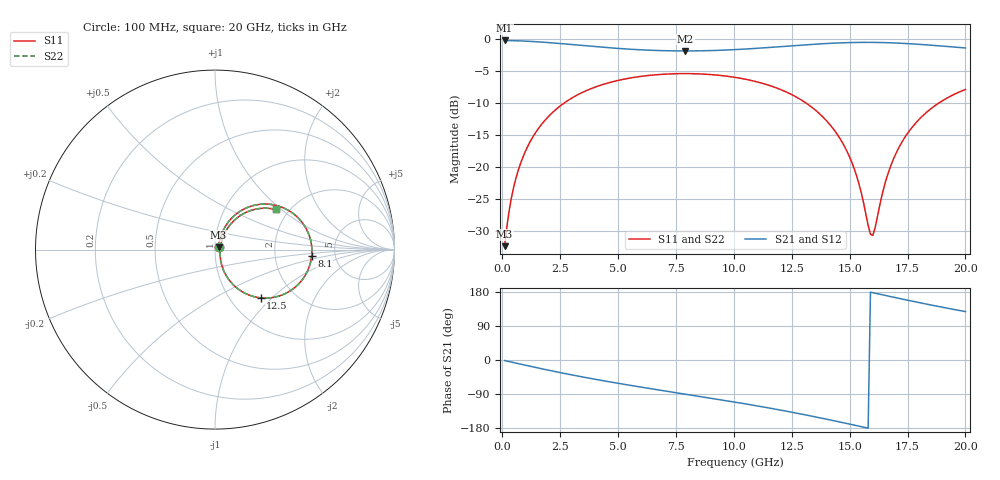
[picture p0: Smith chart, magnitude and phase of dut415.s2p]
! Touchstone file exported from HFSS 2026.1.0
!  File:  C:/ffzhzh/LocalFiles/Ansys_Project_Files/temp_train_TSV_RDL_415_1783094920_53076.aedt
!  Generated:  12:20:45 AM Jul  4, 2026
!  Design:  TSV_RDL
!  Project:  temp_train_TSV_RDL_415_1783094920_53076
! Variables:
!  h_bsmrdl = 4.5um
!  h_ox = 20um
!  h_rdl = 5um
!  h_sub = 59.07um
!  h_tmrdl = 5.37um
!  h_tsv = 59.07um
!  h_via = 3um
!  l_bsmrdl = 668.9um
!  l_sub = 4049.23um
!  l_tmrdl = 386.79um
!  m_sub = 200um
!  pitch = 37.61um
!  r_tsv = 5.13um
!  s_tmrdl = 10um
!  w_bsmrdl = 13.41um
!  w_sub = 500um
!  w_tmrdl = 18.38um
!  x_tsv_center1 = 395.98um
!  x_tsv_center2 = 1078.29um
!  x_tsv_center3 = 1483.46um
!  x_tsv_center4 = 2165.77um
!  x_tsv_center5 = 2570.94um
!  x_tsv_center6 = 3253.25um
# GHz S MA R 50.000000
! Terminal data exported
! Port[1] = TM_RDL1_1_T1
! Port[2] = TM_RDL5_1_T1
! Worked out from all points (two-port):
!   200 points, 100 MHz to 20 GHz, reference 50 ohm
!   highest |S21| = -0.17 dB at 100 MHz (marker M1); lowest = -1.8 dB at 7.9 GHz (marker M2)
!   |S21| within 3 dB of the highest: start of sweep to end of sweep
!   lowest |S11| = -32.3 dB at 100 MHz (marker M3), VSWR 1.05, Z = 52 + j1.43 ohm
!   |S11| at or under -10 dB: start of sweep to 2.654 GHz; 13.13 GHz to 18.83 GHz (5.7 GHz wide, 35.7 % of centre)
!   |S22| runs from -32.3 to -5.4 dB; largest |S21 - S12| = 2.2e-14
!   S11 on the Smith chart (normalised r, x): 100 MHz: 1.04, +0.03; 8.1 GHz: 3.30, -0.35; 12.5 GHz: 1.37, -0.85; 20 GHz: 1.71, +0.92
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0.1  0.02419 34.6  0.9803 -1.4  0.9803 -1.4  0.02419 34.6
! Gamma 0 0 0 0
! Port Impedance 50 0 50 0
0.3  0.04627 59.1  0.9784 -4.2  0.9784 -4.2  0.04627 59.1
0.5  0.07096 65.4  0.9762 -7.0  0.9762 -7.0  0.07096 65.4
1.1  0.146 65.8  0.9666 -15.1  0.9666 -15.1  0.146 65.8
2.1  0.261 56.2  0.9403 -28.2  0.9403 -28.2  0.261 56.2
3.5  0.3878 40.8  0.8939 -45.2  0.8939 -45.2  0.3878 40.8
5  0.4775 25.2  0.8493 -61.5  0.8493 -61.5  0.4775 25.2
6.8  0.5316 8.0  0.8172 -79.5  0.8172 -79.5  0.5316 8.0
7.9  0.54 -2.1  0.8117 -90.1  0.8117 -90.1  0.54 -2.1
8.1  0.5396 -3.9  0.8119 -92.0  0.8119 -92.0  0.5396 -3.9
10.1  0.503 -22.6  0.8322 -111.7  0.8322 -111.7  0.503 -22.6
12.5  0.3698 -46.6  0.8904 -137.8  0.8904 -137.8  0.3698 -46.6
13.4  0.2916 -55.9  0.9142 -148.6  0.9142 -148.6  0.2916 -55.9
14.3  0.1992 -64.2  0.9338 -160.0  0.9338 -160.0  0.1992 -64.3
15  0.1202 -67.5  0.9437 -169.2  0.9437 -169.2  0.1202 -67.7
15.4  0.07456 -63.7  0.9466 -174.5  0.9466 -174.5  0.07443 -64.0
15.9  0.03 -17.9  0.9471 178.9  0.9471 178.9  0.02968 -18.0
16.1  0.03353 24.4  0.9463 176.2  0.9463 176.2  0.03325 24.7
16.7  0.09404 58.6  0.9407 168.2  0.9407 168.2  0.09394 58.8
17.3  0.162 58.7  0.9307 160.4  0.9307 160.4  0.1619 58.8
18  0.2369 53.3  0.9144 151.5  0.9144 151.5  0.2369 53.4
20  0.4057 33.4  0.8566 127.8  0.8566 127.8  0.4057 33.5
